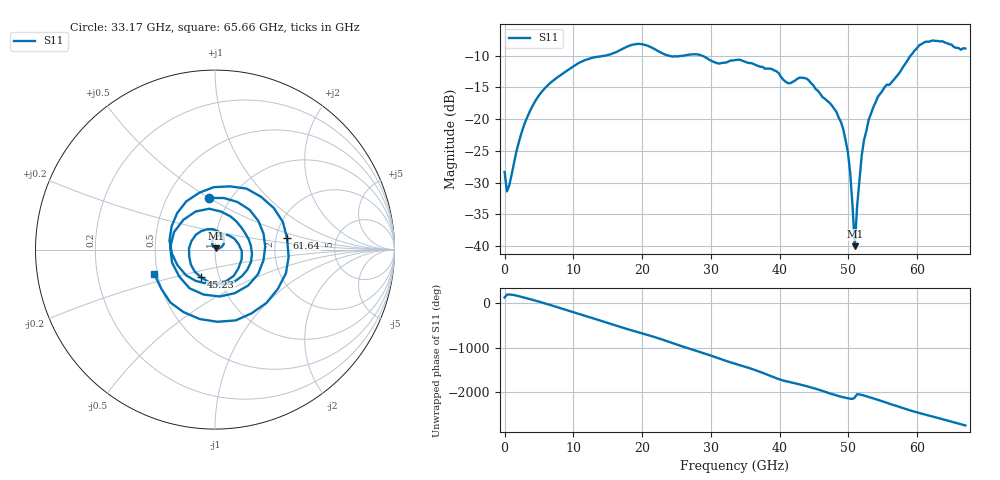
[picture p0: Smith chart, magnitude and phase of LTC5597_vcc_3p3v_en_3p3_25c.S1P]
!  1-Port S-parameters saved by WinCal
! VAR MeasName=S-Parameters (CALIBRATED_DATA) read from VNA (N5247B)
! VAR MeasDate=4/19/2019 9:38:54 AM
! VAR NAME=Measurement 3
! VAR FILENAME=LTC5597_vcc_3p3v_en_3p3_sn8_25c.S1P
! VAR DATE=4/19/2019 9:38:55 AM
! VAR PHYS_PORTS=1
# Hz S DB R 50
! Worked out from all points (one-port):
!   201 points, 10 MHz to 67 GHz, reference 50 ohm
!   lowest |S11| = -40.0 dB at 50.92 GHz (marker M1), VSWR 1.02, Z = 50.6 + j0.768 ohm
!   |S11| at or under -10 dB: start of sweep to 14.63 GHz; 23.86 GHz to 26.02 GHz (2.156 GHz wide, 8.64 % of centre); 28.71 GHz to 59.04 GHz (30.33 GHz wide, 69.1 % of centre)
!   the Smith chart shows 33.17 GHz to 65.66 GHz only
!   S11 on the Smith chart (normalised r, x): 33.17 GHz: 0.80, +0.50; 45.23 GHz: 0.82, -0.26; 61.64 GHz: 2.30, +0.36; 65.66 GHz: 0.48, -0.15
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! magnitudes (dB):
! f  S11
! 10 MHz  -28.3
! 344.9 MHz  -31.4
! 2.355 GHz  -22.6
! 3.694 GHz  -18.7
! 5.704 GHz  -15.3
! 8.384 GHz  -12.9
! 16.76 GHz  -9.1
! 19.77 GHz  -8.2
! 25.13 GHz  -10.1
! 33.17 GHz  -10.8
! 33.51 GHz  -10.7
! 38.86 GHz  -12.1
! 41.88 GHz  -14.1
! 43.89 GHz  -13.6
! 45.23 GHz  -15.3
! 48.91 GHz  -20.5
! 49.92 GHz  -25.2
! 50.25 GHz  -28.5
! 50.92 GHz  -40.0
! 51.26 GHz  -33.8
! 51.93 GHz  -25.7
! 52.93 GHz  -20.1
! 54.27 GHz  -16.5
! 58.63 GHz  -10.7
! 60.3 GHz  -8.3
! 61.64 GHz  -7.8
! 65.66 GHz  -8.8
! 67 GHz  -8.9
